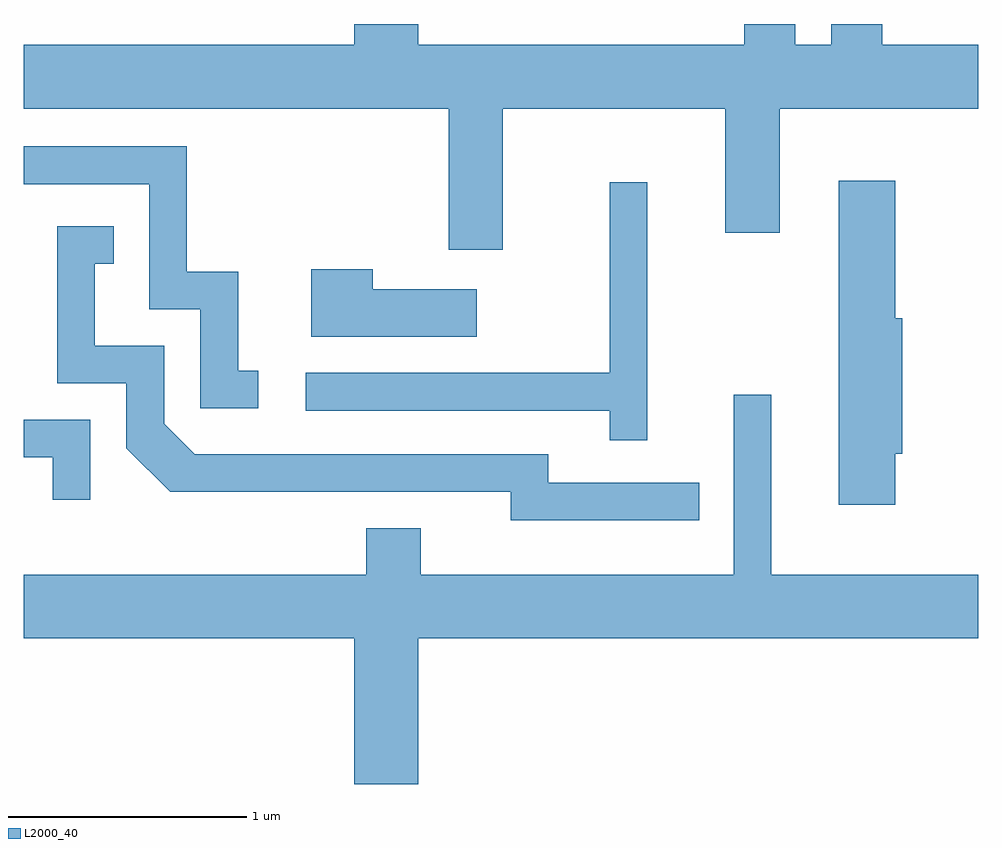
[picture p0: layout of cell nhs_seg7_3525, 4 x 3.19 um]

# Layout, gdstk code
import gdstk
lib = gdstk.Library(unit=1e-6, precision=1e-09)
def P(c, l, *ps):  # polygons
    for p in ps: c.add(gdstk.Polygon(p, *l))
L2000_40 = (2000, 40)

nhs_seg7_3525 = lib.new_cell('nhs_seg7_3525')
P(nhs_seg7_3525, L2000_40, [(295.619,1689.896),(296.551,1689.896),(296.551,1689.376),(296.779,1689.376),(296.779,1689.896),(297.611,1689.896),(297.611,1690.164),(297.209,1690.164),(297.209,1690.252),(296.996,1690.252),(296.996,1690.164),(296.844,1690.164),(296.844,1690.252),(296.631,1690.252),(296.631,1690.164),(295.264,1690.164),(295.264,1690.252),(294.996,1690.252),(294.996,1690.164),(293.611,1690.164),(293.611,1689.896),(295.391,1689.896),(295.391,1689.306),(295.619,1689.306)],
  [(294.593,1688.799),(294.509,1688.799),(294.509,1689.214),(294.294,1689.214),(294.294,1689.739),(293.611,1689.739),(293.611,1689.581),(294.136,1689.581),(294.136,1689.056),(294.351,1689.056),(294.351,1688.641),(294.593,1688.641)],
  [(297.264,1688.451),(297.294,1688.451),(297.294,1689.019),(297.264,1689.019),(297.264,1689.594),(297.026,1689.594),(297.026,1688.236),(297.264,1688.236)],
  [(296.224,1689.588),(296.066,1689.588),(296.066,1688.789),(294.793,1688.789),(294.793,1688.631),(296.066,1688.631),(296.066,1688.508),(296.224,1688.508)],
  [(296.443,1688.329),(295.809,1688.329),(295.809,1688.449),(294.327,1688.449),(294.199,1688.577),(294.199,1688.904),(293.909,1688.904),(293.909,1689.246),(293.988,1689.246),(293.988,1689.404),(293.751,1689.404),(293.751,1688.746),(294.041,1688.746),(294.041,1688.474),(294.224,1688.291),(295.651,1688.291),(295.651,1688.171),(296.443,1688.171)],
  [(295.509,1689.139),(295.074,1689.139),(295.074,1689.224),(294.816,1689.224),(294.816,1688.941),(295.509,1688.941)],
  [(295.264,1687.676),(297.611,1687.676),(297.611,1687.944),(296.744,1687.944),(296.744,1688.698),(296.586,1688.698),(296.586,1687.944),(295.274,1687.944),(295.274,1688.139),(295.046,1688.139),(295.046,1687.944),(293.611,1687.944),(293.611,1687.676),(294.996,1687.676),(294.996,1687.066),(295.264,1687.066)],
  [(293.889,1688.594),(293.611,1688.594),(293.611,1688.436),(293.731,1688.436),(293.731,1688.258),(293.889,1688.258)])

lib.write_gds('nhs_seg7_3525.gds')
